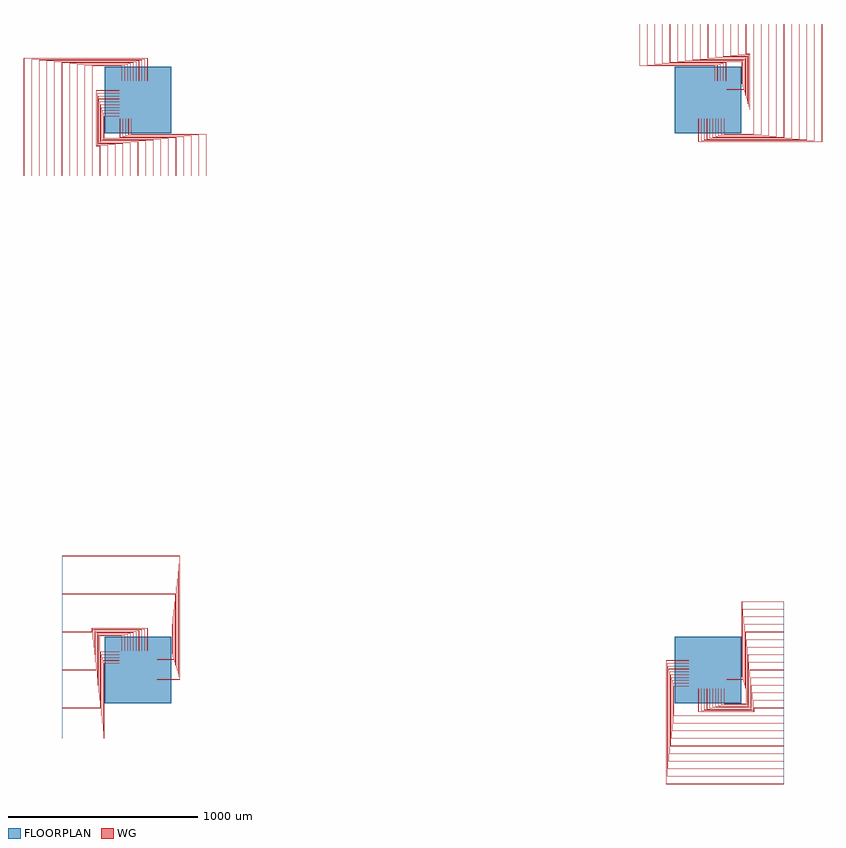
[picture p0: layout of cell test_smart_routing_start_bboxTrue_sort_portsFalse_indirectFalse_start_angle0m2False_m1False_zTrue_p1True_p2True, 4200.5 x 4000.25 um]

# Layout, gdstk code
import gdstk
lib = gdstk.Library(unit=1e-6, precision=1e-09)
def R(c, l, rs):  # rectangles x0, y0, x1, y1
    for r in rs: c.add(gdstk.rectangle(r[:2], r[2:], *l))
def P(c, l, *ps):  # polygons
    for p in ps: c.add(gdstk.Polygon(p, *l))
WG = (1, 0)
FLOORPLAN = (10, 0)

test_smart_routing_start = lib.new_cell('test_smart_routing_start_bboxTrue_sort_portsFalse_indirectFalse_start_angle0m2False_m1False_zTrue_p1True_p2True')
P(test_smart_routing_start, WG, [(2950.05,2780.3),(2950.05,2900),(2950.25,2900),(2950.25,2780.5),(3599.75,2780.5),(3599.75,3400),(3599.95,3400),(3599.95,2780.3)],
  [(2949.75,2780),(2949.75,2900),(2949.95,2900),(2949.95,2780.2),(3600.05,2780.2),(3600.05,3400),(3600.25,3400),(3600.25,2780)],
  [(2965.05,2784.8),(2965.05,2900),(2965.25,2900),(2965.25,2785),(3559.75,2785),(3559.75,3400),(3559.95,3400),(3559.95,2784.8)],
  [(2964.75,2784.5),(2964.75,2900),(2964.95,2900),(2964.95,2784.7),(3560.05,2784.7),(3560.05,3400),(3560.25,3400),(3560.25,2784.5)],
  [(2980.05,2789.3),(2980.05,2900),(2980.25,2900),(2980.25,2789.5),(3519.75,2789.5),(3519.75,3400),(3519.95,3400),(3519.95,2789.3)],
  [(2979.75,2789),(2979.75,2900),(2979.95,2900),(2979.95,2789.2),(3520.05,2789.2),(3520.05,3400),(3520.25,3400),(3520.25,2789)],
  [(2995.05,2793.8),(2995.05,2900),(2995.25,2900),(2995.25,2794),(3479.75,2794),(3479.75,3400),(3479.95,3400),(3479.95,2793.8)],
  [(2994.75,2793.5),(2994.75,2900),(2994.95,2900),(2994.95,2793.7),(3480.05,2793.7),(3480.05,3400),(3480.25,3400),(3480.25,2793.5)],
  [(3010.05,2798.3),(3010.05,2900),(3010.25,2900),(3010.25,2798.5),(3439.75,2798.5),(3439.75,3400),(3439.95,3400),(3439.95,2798.3)],
  [(3009.75,2798),(3009.75,2900),(3009.95,2900),(3009.95,2798.2),(3440.05,2798.2),(3440.05,3400),(3440.25,3400),(3440.25,2798)],
  [(3025.05,2802.8),(3025.05,2900),(3025.25,2900),(3025.25,2803),(3399.75,2803),(3399.75,3400),(3399.95,3400),(3399.95,2802.8)],
  [(3024.75,2802.5),(3024.75,2900),(3024.95,2900),(3024.95,2802.7),(3400.05,2802.7),(3400.05,3400),(3400.25,3400),(3400.25,2802.5)],
  [(3040.05,2807.3),(3040.05,2900),(3040.25,2900),(3040.25,2807.5),(3359.75,2807.5),(3359.75,3400),(3359.95,3400),(3359.95,2807.3)],
  [(3039.75,2807),(3039.75,2900),(3039.95,2900),(3039.95,2807.2),(3360.05,2807.2),(3360.05,3400),(3360.25,3400),(3360.25,2807)],
  [(3055.05,2811.8),(3055.05,2900),(3055.25,2900),(3055.25,2812),(3319.75,2812),(3319.75,3400),(3319.95,3400),(3319.95,2811.8)],
  [(3054.75,2811.5),(3054.75,2900),(3054.95,2900),(3054.95,2811.7),(3320.05,2811.7),(3320.05,3400),(3320.25,3400),(3320.25,2811.5)],
  [(3070.05,2816.3),(3070.05,2900),(3070.25,2900),(3070.25,2816.5),(3279.75,2816.5),(3279.75,3400),(3279.95,3400),(3279.95,2816.3)],
  [(3069.75,2816),(3069.75,2900),(3069.95,2900),(3069.95,2816.2),(3280.05,2816.2),(3280.05,3400),(3280.25,3400),(3280.25,2816)],
  [(3085.05,2820.8),(3085.05,2900),(3085.25,2900),(3085.25,2821),(3239.75,2821),(3239.75,3400),(3239.95,3400),(3239.95,2820.8)],
  [(3084.75,2820.5),(3084.75,2900),(3084.95,2900),(3084.95,2820.7),(3240.05,2820.7),(3240.05,3400),(3240.25,3400),(3240.25,2820.5)],
  [(3100,2950.05),(3100,2950.25),(3219.5,2950.25),(3219.5,3242),(3199.75,3242),(3199.75,3400),(3199.95,3400),(3199.95,3242.2),(3219.7,3242.2),(3219.7,2950.05)],
  [(3100,2949.75),(3100,2949.95),(3219.8,2949.95),(3219.8,3242.3),(3200.05,3242.3),(3200.05,3400),(3200.25,3400),(3200.25,3242.5),(3220,3242.5),(3220,2949.75)],
  [(3100,2965.05),(3100,2965.25),(3215,2965.25),(3215,3237.5),(3159.75,3237.5),(3159.75,3400),(3159.95,3400),(3159.95,3237.7),(3215.2,3237.7),(3215.2,2965.05)],
  [(3100,2964.75),(3100,2964.95),(3215.3,2964.95),(3215.3,3237.8),(3160.05,3237.8),(3160.05,3400),(3160.25,3400),(3160.25,3238),(3215.5,3238),(3215.5,2964.75)],
  [(3100,2980.05),(3100,2980.25),(3210.5,2980.25),(3210.5,3233),(3119.75,3233),(3119.75,3400),(3119.95,3400),(3119.95,3233.2),(3210.7,3233.2),(3210.7,2980.05)],
  [(3100,2979.75),(3100,2979.95),(3210.8,2979.95),(3210.8,3233.3),(3120.05,3233.3),(3120.05,3400),(3120.25,3400),(3120.25,3233.5),(3211,3233.5),(3211,2979.75)],
  [(3100,2995.05),(3100,2995.25),(3206,2995.25),(3206,3228.5),(3079.75,3228.5),(3079.75,3400),(3079.95,3400),(3079.95,3228.7),(3206.2,3228.7),(3206.2,2995.05)],
  [(3100,2994.75),(3100,2994.95),(3206.3,2994.95),(3206.3,3228.8),(3080.05,3228.8),(3080.05,3400),(3080.25,3400),(3080.25,3229),(3206.5,3229),(3206.5,2994.75)],
  [(3100,3010.05),(3100,3010.25),(3201.5,3010.25),(3201.5,3224),(3039.75,3224),(3039.75,3400),(3039.95,3400),(3039.95,3224.2),(3201.7,3224.2),(3201.7,3010.05)],
  [(3100,3009.75),(3100,3009.95),(3201.8,3009.95),(3201.8,3224.3),(3040.05,3224.3),(3040.05,3400),(3040.25,3400),(3040.25,3224.5),(3202,3224.5),(3202,3009.75)],
  [(3100,3025.05),(3100,3025.25),(3197,3025.25),(3197,3219.5),(2999.75,3219.5),(2999.75,3400),(2999.95,3400),(2999.95,3219.7),(3197.2,3219.7),(3197.2,3025.05)],
  [(3100,3024.75),(3100,3024.95),(3197.3,3024.95),(3197.3,3219.8),(3000.05,3219.8),(3000.05,3400),(3000.25,3400),(3000.25,3220),(3197.5,3220),(3197.5,3024.75)],
  [(3100,3040.05),(3100,3040.25),(3192.5,3040.25),(3192.5,3215),(2959.75,3215),(2959.75,3400),(2959.95,3400),(2959.95,3215.2),(3192.7,3215.2),(3192.7,3040.05)],
  [(3100,3039.75),(3100,3039.95),(3192.8,3039.95),(3192.8,3215.3),(2960.05,3215.3),(2960.05,3400),(2960.25,3400),(2960.25,3215.5),(3193,3215.5),(3193,3039.75)],
  [(3100,3055.05),(3100,3055.25),(3188,3055.25),(3188,3210.5),(2919.75,3210.5),(2919.75,3400),(2919.95,3400),(2919.95,3210.7),(3188.2,3210.7),(3188.2,3055.05)],
  [(3100,3054.75),(3100,3054.95),(3188.3,3054.95),(3188.3,3210.8),(2920.05,3210.8),(2920.05,3400),(2920.25,3400),(2920.25,3211),(3188.5,3211),(3188.5,3054.75)],
  [(3100,3070.05),(3100,3070.25),(3183.5,3070.25),(3183.5,3206),(2879.75,3206),(2879.75,3400),(2879.95,3400),(2879.95,3206.2),(3183.7,3206.2),(3183.7,3070.05)],
  [(3100,3069.75),(3100,3069.95),(3183.8,3069.95),(3183.8,3206.3),(2880.05,3206.3),(2880.05,3400),(2880.25,3400),(2880.25,3206.5),(3184,3206.5),(3184,3069.75)],
  [(3100,3085.05),(3100,3085.25),(3179,3085.25),(3179,3201.5),(2839.75,3201.5),(2839.75,3400),(2839.95,3400),(2839.95,3201.7),(3179.2,3201.7),(3179.2,3085.05)],
  [(3100,3084.75),(3100,3084.95),(3179.3,3084.95),(3179.3,3201.8),(2840.05,3201.8),(2840.05,3400),(2840.25,3400),(2840.25,3202),(3179.5,3202),(3179.5,3084.75)],
  [(3034.75,3100),(3034.75,3179),(2639.75,3179),(2639.75,3400),(2639.95,3400),(2639.95,3179.2),(3034.95,3179.2),(3034.95,3100)],
  [(3035.05,3100),(3035.05,3179.3),(2640.05,3179.3),(2640.05,3400),(2640.25,3400),(2640.25,3179.5),(3035.25,3179.5),(3035.25,3100)],
  [(3049.75,3100),(3049.75,3183.5),(2679.75,3183.5),(2679.75,3400),(2679.95,3400),(2679.95,3183.7),(3049.95,3183.7),(3049.95,3100)],
  [(3050.05,3100),(3050.05,3183.8),(2680.05,3183.8),(2680.05,3400),(2680.25,3400),(2680.25,3184),(3050.25,3184),(3050.25,3100)],
  [(3064.75,3100),(3064.75,3188),(2719.75,3188),(2719.75,3400),(2719.95,3400),(2719.95,3188.2),(3064.95,3188.2),(3064.95,3100)],
  [(3065.05,3100),(3065.05,3188.3),(2720.05,3188.3),(2720.05,3400),(2720.25,3400),(2720.25,3188.5),(3065.25,3188.5),(3065.25,3100)],
  [(3079.75,3100),(3079.75,3192.5),(2759.75,3192.5),(2759.75,3400),(2759.95,3400),(2759.95,3192.7),(3079.95,3192.7),(3079.95,3100)],
  [(3080.05,3100),(3080.05,3192.8),(2760.05,3192.8),(2760.05,3400),(2760.25,3400),(2760.25,3193),(3080.25,3193),(3080.25,3100)],
  [(3094.75,3100),(3094.75,3197),(2799.75,3197),(2799.75,3400),(2799.95,3400),(2799.95,3197.2),(3094.95,3197.2),(3094.95,3100)],
  [(3095.05,3100),(3095.05,3197.3),(2800.05,3197.3),(2800.05,3400),(2800.25,3400),(2800.25,3197.5),(3095.25,3197.5),(3095.25,3100)],
  [(-599.95,2600),(-599.95,3219.7),(49.95,3219.7),(49.95,3100),(49.75,3100),(49.75,3219.5),(-599.75,3219.5),(-599.75,2600)],
  [(-600.25,2600),(-600.25,3220),(50.25,3220),(50.25,3100),(50.05,3100),(50.05,3219.8),(-600.05,3219.8),(-600.05,2600)],
  [(-559.95,2600),(-559.95,3215.2),(34.95,3215.2),(34.95,3100),(34.75,3100),(34.75,3215),(-559.75,3215),(-559.75,2600)],
  [(-560.25,2600),(-560.25,3215.5),(35.25,3215.5),(35.25,3100),(35.05,3100),(35.05,3215.3),(-560.05,3215.3),(-560.05,2600)],
  [(-519.95,2600),(-519.95,3210.7),(19.95,3210.7),(19.95,3100),(19.75,3100),(19.75,3210.5),(-519.75,3210.5),(-519.75,2600)],
  [(-520.25,2600),(-520.25,3211),(20.25,3211),(20.25,3100),(20.05,3100),(20.05,3210.8),(-520.05,3210.8),(-520.05,2600)],
  [(-479.95,2600),(-479.95,3206.2),(4.95,3206.2),(4.95,3100),(4.75,3100),(4.75,3206),(-479.75,3206),(-479.75,2600)],
  [(-480.25,2600),(-480.25,3206.5),(5.25,3206.5),(5.25,3100),(5.05,3100),(5.05,3206.3),(-480.05,3206.3),(-480.05,2600)],
  [(-439.95,2600),(-439.95,3201.7),(-10.05,3201.7),(-10.05,3100),(-10.25,3100),(-10.25,3201.5),(-439.75,3201.5),(-439.75,2600)],
  [(-440.25,2600),(-440.25,3202),(-9.75,3202),(-9.75,3100),(-9.95,3100),(-9.95,3201.8),(-440.05,3201.8),(-440.05,2600)],
  [(-399.95,2600),(-399.95,3197.2),(-25.05,3197.2),(-25.05,3100),(-25.25,3100),(-25.25,3197),(-399.75,3197),(-399.75,2600)],
  [(-400.25,2600),(-400.25,3197.5),(-24.75,3197.5),(-24.75,3100),(-24.95,3100),(-24.95,3197.3),(-400.05,3197.3),(-400.05,2600)],
  [(-359.95,2600),(-359.95,3192.7),(-40.05,3192.7),(-40.05,3100),(-40.25,3100),(-40.25,3192.5),(-359.75,3192.5),(-359.75,2600)],
  [(-360.25,2600),(-360.25,3193),(-39.75,3193),(-39.75,3100),(-39.95,3100),(-39.95,3192.8),(-360.05,3192.8),(-360.05,2600)],
  [(-319.95,2600),(-319.95,3188.2),(-55.05,3188.2),(-55.05,3100),(-55.25,3100),(-55.25,3188),(-319.75,3188),(-319.75,2600)],
  [(-320.25,2600),(-320.25,3188.5),(-54.75,3188.5),(-54.75,3100),(-54.95,3100),(-54.95,3188.3),(-320.05,3188.3),(-320.05,2600)],
  [(-279.95,2600),(-279.95,3183.7),(-70.05,3183.7),(-70.05,3100),(-70.25,3100),(-70.25,3183.5),(-279.75,3183.5),(-279.75,2600)],
  [(-280.25,2600),(-280.25,3184),(-69.75,3184),(-69.75,3100),(-69.95,3100),(-69.95,3183.8),(-280.05,3183.8),(-280.05,2600)],
  [(-239.95,2600),(-239.95,3179.2),(-85.05,3179.2),(-85.05,3100),(-85.25,3100),(-85.25,3179),(-239.75,3179),(-239.75,2600)],
  [(-240.25,2600),(-240.25,3179.5),(-84.75,3179.5),(-84.75,3100),(-84.95,3100),(-84.95,3179.3),(-240.05,3179.3),(-240.05,2600)],
  [(-199.95,2600),(-199.95,2757.8),(-219.7,2757.8),(-219.7,3049.95),(-100,3049.95),(-100,3049.75),(-219.5,3049.75),(-219.5,2758),(-199.75,2758),(-199.75,2600)],
  [(-200.25,2600),(-200.25,2757.5),(-220,2757.5),(-220,3050.25),(-100,3050.25),(-100,3050.05),(-219.8,3050.05),(-219.8,2757.7),(-200.05,2757.7),(-200.05,2600)],
  [(-159.95,2600),(-159.95,2762.3),(-215.2,2762.3),(-215.2,3034.95),(-100,3034.95),(-100,3034.75),(-215,3034.75),(-215,2762.5),(-159.75,2762.5),(-159.75,2600)],
  [(-160.25,2600),(-160.25,2762),(-215.5,2762),(-215.5,3035.25),(-100,3035.25),(-100,3035.05),(-215.3,3035.05),(-215.3,2762.2),(-160.05,2762.2),(-160.05,2600)],
  [(-119.95,2600),(-119.95,2766.8),(-210.7,2766.8),(-210.7,3019.95),(-100,3019.95),(-100,3019.75),(-210.5,3019.75),(-210.5,2767),(-119.75,2767),(-119.75,2600)],
  [(-120.25,2600),(-120.25,2766.5),(-211,2766.5),(-211,3020.25),(-100,3020.25),(-100,3020.05),(-210.8,3020.05),(-210.8,2766.7),(-120.05,2766.7),(-120.05,2600)],
  [(-79.95,2600),(-79.95,2771.3),(-206.2,2771.3),(-206.2,3004.95),(-100,3004.95),(-100,3004.75),(-206,3004.75),(-206,2771.5),(-79.75,2771.5),(-79.75,2600)],
  [(-80.25,2600),(-80.25,2771),(-206.5,2771),(-206.5,3005.25),(-100,3005.25),(-100,3005.05),(-206.3,3005.05),(-206.3,2771.2),(-80.05,2771.2),(-80.05,2600)],
  [(-39.95,2600),(-39.95,2775.8),(-201.7,2775.8),(-201.7,2989.95),(-100,2989.95),(-100,2989.75),(-201.5,2989.75),(-201.5,2776),(-39.75,2776),(-39.75,2600)],
  [(-40.25,2600),(-40.25,2775.5),(-202,2775.5),(-202,2990.25),(-100,2990.25),(-100,2990.05),(-201.8,2990.05),(-201.8,2775.7),(-40.05,2775.7),(-40.05,2600)],
  [(0.05,2600),(0.05,2780.3),(-197.2,2780.3),(-197.2,2974.95),(-100,2974.95),(-100,2974.75),(-197,2974.75),(-197,2780.5),(0.25,2780.5),(0.25,2600)],
  [(-0.25,2600),(-0.25,2780),(-197.5,2780),(-197.5,2975.25),(-100,2975.25),(-100,2975.05),(-197.3,2975.05),(-197.3,2780.2),(-0.05,2780.2),(-0.05,2600)],
  [(40.05,2600),(40.05,2784.8),(-192.7,2784.8),(-192.7,2959.95),(-100,2959.95),(-100,2959.75),(-192.5,2959.75),(-192.5,2785),(40.25,2785),(40.25,2600)],
  [(39.75,2600),(39.75,2784.5),(-193,2784.5),(-193,2960.25),(-100,2960.25),(-100,2960.05),(-192.8,2960.05),(-192.8,2784.7),(39.95,2784.7),(39.95,2600)],
  [(80.05,2600),(80.05,2789.3),(-188.2,2789.3),(-188.2,2944.95),(-100,2944.95),(-100,2944.75),(-188,2944.75),(-188,2789.5),(80.25,2789.5),(80.25,2600)],
  [(79.75,2600),(79.75,2789),(-188.5,2789),(-188.5,2945.25),(-100,2945.25),(-100,2945.05),(-188.3,2945.05),(-188.3,2789.2),(79.95,2789.2),(79.95,2600)],
  [(120.05,2600),(120.05,2793.8),(-183.7,2793.8),(-183.7,2929.95),(-100,2929.95),(-100,2929.75),(-183.5,2929.75),(-183.5,2794),(120.25,2794),(120.25,2600)],
  [(119.75,2600),(119.75,2793.5),(-184,2793.5),(-184,2930.25),(-100,2930.25),(-100,2930.05),(-183.8,2930.05),(-183.8,2793.7),(119.95,2793.7),(119.95,2600)],
  [(160.05,2600),(160.05,2798.3),(-179.2,2798.3),(-179.2,2914.95),(-100,2914.95),(-100,2914.75),(-179,2914.75),(-179,2798.5),(160.25,2798.5),(160.25,2600)],
  [(159.75,2600),(159.75,2798),(-179.5,2798),(-179.5,2915.25),(-100,2915.25),(-100,2915.05),(-179.3,2915.05),(-179.3,2798.2),(159.95,2798.2),(159.95,2600)],
  [(359.75,2600),(359.75,2820.5),(-35.25,2820.5),(-35.25,2900),(-35.05,2900),(-35.05,2820.7),(359.95,2820.7),(359.95,2600)],
  [(360.05,2600),(360.05,2820.8),(-34.95,2820.8),(-34.95,2900),(-34.75,2900),(-34.75,2821),(360.25,2821),(360.25,2600)],
  [(319.75,2600),(319.75,2816),(-50.25,2816),(-50.25,2900),(-50.05,2900),(-50.05,2816.2),(319.95,2816.2),(319.95,2600)],
  [(320.05,2600),(320.05,2816.3),(-49.95,2816.3),(-49.95,2900),(-49.75,2900),(-49.75,2816.5),(320.25,2816.5),(320.25,2600)],
  [(279.75,2600),(279.75,2811.5),(-65.25,2811.5),(-65.25,2900),(-65.05,2900),(-65.05,2811.7),(279.95,2811.7),(279.95,2600)],
  [(280.05,2600),(280.05,2811.8),(-64.95,2811.8),(-64.95,2900),(-64.75,2900),(-64.75,2812),(280.25,2812),(280.25,2600)],
  [(239.75,2600),(239.75,2807),(-80.25,2807),(-80.25,2900),(-80.05,2900),(-80.05,2807.2),(239.95,2807.2),(239.95,2600)],
  [(240.05,2600),(240.05,2807.3),(-79.95,2807.3),(-79.95,2900),(-79.75,2900),(-79.75,2807.5),(240.25,2807.5),(240.25,2600)],
  [(199.75,2600),(199.75,2802.5),(-95.25,2802.5),(-95.25,2900),(-95.05,2900),(-95.05,2802.7),(199.95,2802.7),(199.95,2600)],
  [(200.05,2600),(200.05,2802.8),(-94.95,2802.8),(-94.95,2900),(-94.75,2900),(-94.75,2803),(200.25,2803),(200.25,2600)],
  [(100,-49.95),(100,-49.75),(219.5,-49.75),(219.5,599.75),(-400,599.75),(-400,599.95),(219.7,599.95),(219.7,-49.95)],
  [(100,-50.25),(100,-50.05),(219.8,-50.05),(219.8,600.05),(-400,600.05),(-400,600.25),(220,600.25),(220,-50.25)],
  [(100,-34.95),(100,-34.75),(215,-34.75),(215,559.75),(-400,559.75),(-400,559.95),(215.2,559.95),(215.2,-34.95)],
  [(100,-35.25),(100,-35.05),(215.3,-35.05),(215.3,560.05),(-400,560.05),(-400,560.25),(215.5,560.25),(215.5,-35.25)],
  [(100,-19.95),(100,-19.75),(210.5,-19.75),(210.5,519.75),(-400,519.75),(-400,519.95),(210.7,519.95),(210.7,-19.95)],
  [(100,-20.25),(100,-20.05),(210.8,-20.05),(210.8,520.05),(-400,520.05),(-400,520.25),(211,520.25),(211,-20.25)],
  [(100,-4.95),(100,-4.75),(206,-4.75),(206,479.75),(-400,479.75),(-400,479.95),(206.2,479.95),(206.2,-4.95)],
  [(100,-5.25),(100,-5.05),(206.3,-5.05),(206.3,480.05),(-400,480.05),(-400,480.25),(206.5,480.25),(206.5,-5.25)],
  [(100,10.05),(100,10.25),(201.5,10.25),(201.5,439.75),(-400,439.75),(-400,439.95),(201.7,439.95),(201.7,10.05)],
  [(100,9.75),(100,9.95),(201.8,9.95),(201.8,440.05),(-400,440.05),(-400,440.25),(202,440.25),(202,9.75)],
  [(100,25.05),(100,25.25),(197,25.25),(197,399.75),(-400,399.75),(-400,399.95),(197.2,399.95),(197.2,25.05)],
  [(100,24.75),(100,24.95),(197.3,24.95),(197.3,400.05),(-400,400.05),(-400,400.25),(197.5,400.25),(197.5,24.75)],
  [(100,40.05),(100,40.25),(192.5,40.25),(192.5,359.75),(-400,359.75),(-400,359.95),(192.7,359.95),(192.7,40.05)],
  [(100,39.75),(100,39.95),(192.8,39.95),(192.8,360.05),(-400,360.05),(-400,360.25),(193,360.25),(193,39.75)],
  [(100,55.05),(100,55.25),(188,55.25),(188,319.75),(-400,319.75),(-400,319.95),(188.2,319.95),(188.2,55.05)],
  [(100,54.75),(100,54.95),(188.3,54.95),(188.3,320.05),(-400,320.05),(-400,320.25),(188.5,320.25),(188.5,54.75)],
  [(100,70.05),(100,70.25),(183.5,70.25),(183.5,279.75),(-400,279.75),(-400,279.95),(183.7,279.95),(183.7,70.05)],
  [(100,69.75),(100,69.95),(183.8,69.95),(183.8,280.05),(-400,280.05),(-400,280.25),(184,280.25),(184,69.75)],
  [(100,85.05),(100,85.25),(179,85.25),(179,239.75),(-400,239.75),(-400,239.95),(179.2,239.95),(179.2,85.05)],
  [(100,84.75),(100,84.95),(179.3,84.95),(179.3,240.05),(-400,240.05),(-400,240.25),(179.5,240.25),(179.5,84.75)],
  [(49.75,100),(49.75,219.5),(-242,219.5),(-242,199.75),(-400,199.75),(-400,199.95),(-242.2,199.95),(-242.2,219.7),(49.95,219.7),(49.95,100)],
  [(50.05,100),(50.05,219.8),(-242.3,219.8),(-242.3,200.05),(-400,200.05),(-400,200.25),(-242.5,200.25),(-242.5,220),(50.25,220),(50.25,100)],
  [(34.75,100),(34.75,215),(-237.5,215),(-237.5,159.75),(-400,159.75),(-400,159.95),(-237.7,159.95),(-237.7,215.2),(34.95,215.2),(34.95,100)],
  [(35.05,100),(35.05,215.3),(-237.8,215.3),(-237.8,160.05),(-400,160.05),(-400,160.25),(-238,160.25),(-238,215.5),(35.25,215.5),(35.25,100)],
  [(19.75,100),(19.75,210.5),(-233,210.5),(-233,119.75),(-400,119.75),(-400,119.95),(-233.2,119.95),(-233.2,210.7),(19.95,210.7),(19.95,100)],
  [(20.05,100),(20.05,210.8),(-233.3,210.8),(-233.3,120.05),(-400,120.05),(-400,120.25),(-233.5,120.25),(-233.5,211),(20.25,211),(20.25,100)],
  [(-400,79.75),(-400,79.95),(-228.7,79.95),(-228.7,206.2),(4.95,206.2),(4.95,100),(4.75,100),(4.75,206),(-228.5,206),(-228.5,79.75)],
  [(-400,80.05),(-400,80.25),(-229,80.25),(-229,206.5),(5.25,206.5),(5.25,100),(5.05,100),(5.05,206.3),(-228.8,206.3),(-228.8,80.05)],
  [(-400,39.75),(-400,39.95),(-224.2,39.95),(-224.2,201.7),(-10.05,201.7),(-10.05,100),(-10.25,100),(-10.25,201.5),(-224,201.5),(-224,39.75)],
  [(-400,40.05),(-400,40.25),(-224.5,40.25),(-224.5,202),(-9.75,202),(-9.75,100),(-9.95,100),(-9.95,201.8),(-224.3,201.8),(-224.3,40.05)],
  [(-400,-0.25),(-400,-0.05),(-219.7,-0.05),(-219.7,197.2),(-25.05,197.2),(-25.05,100),(-25.25,100),(-25.25,197),(-219.5,197),(-219.5,-0.25)],
  [(-400,0.05),(-400,0.25),(-220,0.25),(-220,197.5),(-24.75,197.5),(-24.75,100),(-24.95,100),(-24.95,197.3),(-219.8,197.3),(-219.8,0.05)],
  [(-400,-40.25),(-400,-40.05),(-215.2,-40.05),(-215.2,192.7),(-40.05,192.7),(-40.05,100),(-40.25,100),(-40.25,192.5),(-215,192.5),(-215,-40.25)],
  [(-400,-39.95),(-400,-39.75),(-215.5,-39.75),(-215.5,193),(-39.75,193),(-39.75,100),(-39.95,100),(-39.95,192.8),(-215.3,192.8),(-215.3,-39.95)],
  [(-400,-80.25),(-400,-80.05),(-210.7,-80.05),(-210.7,188.2),(-55.05,188.2),(-55.05,100),(-55.25,100),(-55.25,188),(-210.5,188),(-210.5,-80.25)],
  [(-400,-79.95),(-400,-79.75),(-211,-79.75),(-211,188.5),(-54.75,188.5),(-54.75,100),(-54.95,100),(-54.95,188.3),(-210.8,188.3),(-210.8,-79.95)],
  [(-400,-120.25),(-400,-120.05),(-206.2,-120.05),(-206.2,183.7),(-70.05,183.7),(-70.05,100),(-70.25,100),(-70.25,183.5),(-206,183.5),(-206,-120.25)],
  [(-400,-119.95),(-400,-119.75),(-206.5,-119.75),(-206.5,184),(-69.75,184),(-69.75,100),(-69.95,100),(-69.95,183.8),(-206.3,183.8),(-206.3,-119.95)],
  [(-400,-160.25),(-400,-160.05),(-201.7,-160.05),(-201.7,179.2),(-85.05,179.2),(-85.05,100),(-85.25,100),(-85.25,179),(-201.5,179),(-201.5,-160.25)],
  [(-400,-159.95),(-400,-159.75),(-202,-159.75),(-202,179.5),(-84.75,179.5),(-84.75,100),(-84.95,100),(-84.95,179.3),(-201.8,179.3),(-201.8,-159.95)],
  [(-400,-360.25),(-400,-360.05),(-179.2,-360.05),(-179.2,34.95),(-100,34.95),(-100,34.75),(-179,34.75),(-179,-360.25)],
  [(-400,-359.95),(-400,-359.75),(-179.5,-359.75),(-179.5,35.25),(-100,35.25),(-100,35.05),(-179.3,35.05),(-179.3,-359.95)],
  [(-400,-320.25),(-400,-320.05),(-183.7,-320.05),(-183.7,49.95),(-100,49.95),(-100,49.75),(-183.5,49.75),(-183.5,-320.25)],
  [(-400,-319.95),(-400,-319.75),(-184,-319.75),(-184,50.25),(-100,50.25),(-100,50.05),(-183.8,50.05),(-183.8,-319.95)],
  [(-400,-280.25),(-400,-280.05),(-188.2,-280.05),(-188.2,64.95),(-100,64.95),(-100,64.75),(-188,64.75),(-188,-280.25)],
  [(-400,-279.95),(-400,-279.75),(-188.5,-279.75),(-188.5,65.25),(-100,65.25),(-100,65.05),(-188.3,65.05),(-188.3,-279.95)],
  [(-400,-240.25),(-400,-240.05),(-192.7,-240.05),(-192.7,79.95),(-100,79.95),(-100,79.75),(-192.5,79.75),(-192.5,-240.25)],
  [(-400,-239.95),(-400,-239.75),(-193,-239.75),(-193,80.25),(-100,80.25),(-100,80.05),(-192.8,80.05),(-192.8,-239.95)],
  [(-400,-200.25),(-400,-200.05),(-197.2,-200.05),(-197.2,94.95),(-100,94.95),(-100,94.75),(-197,94.75),(-197,-200.25)],
  [(-400,-199.95),(-400,-199.75),(-197.5,-199.75),(-197.5,95.25),(-100,95.25),(-100,95.05),(-197.3,95.05),(-197.3,-199.95)],
  [(2780.3,-599.95),(2780.3,49.95),(2900,49.95),(2900,49.75),(2780.5,49.75),(2780.5,-599.75),(3400,-599.75),(3400,-599.95)],
  [(2780,-600.25),(2780,50.25),(2900,50.25),(2900,50.05),(2780.2,50.05),(2780.2,-600.05),(3400,-600.05),(3400,-600.25)],
  [(2784.8,-559.95),(2784.8,34.95),(2900,34.95),(2900,34.75),(2785,34.75),(2785,-559.75),(3400,-559.75),(3400,-559.95)],
  [(2784.5,-560.25),(2784.5,35.25),(2900,35.25),(2900,35.05),(2784.7,35.05),(2784.7,-560.05),(3400,-560.05),(3400,-560.25)],
  [(2789.3,-519.95),(2789.3,19.95),(2900,19.95),(2900,19.75),(2789.5,19.75),(2789.5,-519.75),(3400,-519.75),(3400,-519.95)],
  [(2789,-520.25),(2789,20.25),(2900,20.25),(2900,20.05),(2789.2,20.05),(2789.2,-520.05),(3400,-520.05),(3400,-520.25)],
  [(2793.8,-479.95),(2793.8,4.95),(2900,4.95),(2900,4.75),(2794,4.75),(2794,-479.75),(3400,-479.75),(3400,-479.95)],
  [(2793.5,-480.25),(2793.5,5.25),(2900,5.25),(2900,5.05),(2793.7,5.05),(2793.7,-480.05),(3400,-480.05),(3400,-480.25)],
  [(2798.3,-439.95),(2798.3,-10.05),(2900,-10.05),(2900,-10.25),(2798.5,-10.25),(2798.5,-439.75),(3400,-439.75),(3400,-439.95)],
  [(2798,-440.25),(2798,-9.75),(2900,-9.75),(2900,-9.95),(2798.2,-9.95),(2798.2,-440.05),(3400,-440.05),(3400,-440.25)],
  [(2802.8,-399.95),(2802.8,-25.05),(2900,-25.05),(2900,-25.25),(2803,-25.25),(2803,-399.75),(3400,-399.75),(3400,-399.95)],
  [(2802.5,-400.25),(2802.5,-24.75),(2900,-24.75),(2900,-24.95),(2802.7,-24.95),(2802.7,-400.05),(3400,-400.05),(3400,-400.25)],
  [(2807.3,-359.95),(2807.3,-40.05),(2900,-40.05),(2900,-40.25),(2807.5,-40.25),(2807.5,-359.75),(3400,-359.75),(3400,-359.95)],
  [(2807,-360.25),(2807,-39.75),(2900,-39.75),(2900,-39.95),(2807.2,-39.95),(2807.2,-360.05),(3400,-360.05),(3400,-360.25)],
  [(2811.8,-319.95),(2811.8,-55.05),(2900,-55.05),(2900,-55.25),(2812,-55.25),(2812,-319.75),(3400,-319.75),(3400,-319.95)],
  [(2811.5,-320.25),(2811.5,-54.75),(2900,-54.75),(2900,-54.95),(2811.7,-54.95),(2811.7,-320.05),(3400,-320.05),(3400,-320.25)],
  [(2816.3,-279.95),(2816.3,-70.05),(2900,-70.05),(2900,-70.25),(2816.5,-70.25),(2816.5,-279.75),(3400,-279.75),(3400,-279.95)],
  [(2816,-280.25),(2816,-69.75),(2900,-69.75),(2900,-69.95),(2816.2,-69.95),(2816.2,-280.05),(3400,-280.05),(3400,-280.25)],
  [(2820.8,-239.95),(2820.8,-85.05),(2900,-85.05),(2900,-85.25),(2821,-85.25),(2821,-239.75),(3400,-239.75),(3400,-239.95)],
  [(2820.5,-240.25),(2820.5,-84.75),(2900,-84.75),(2900,-84.95),(2820.7,-84.95),(2820.7,-240.05),(3400,-240.05),(3400,-240.25)],
  [(2949.75,-220),(2949.75,-100),(2949.95,-100),(2949.95,-219.8),(3242.3,-219.8),(3242.3,-200.05),(3400,-200.05),(3400,-200.25),(3242.5,-200.25),(3242.5,-220)],
  [(2950.05,-219.7),(2950.05,-100),(2950.25,-100),(2950.25,-219.5),(3242,-219.5),(3242,-199.75),(3400,-199.75),(3400,-199.95),(3242.2,-199.95),(3242.2,-219.7)],
  [(2964.75,-215.5),(2964.75,-100),(2964.95,-100),(2964.95,-215.3),(3237.8,-215.3),(3237.8,-160.05),(3400,-160.05),(3400,-160.25),(3238,-160.25),(3238,-215.5)],
  [(2965.05,-215.2),(2965.05,-100),(2965.25,-100),(2965.25,-215),(3237.5,-215),(3237.5,-159.75),(3400,-159.75),(3400,-159.95),(3237.7,-159.95),(3237.7,-215.2)],
  [(2979.75,-211),(2979.75,-100),(2979.95,-100),(2979.95,-210.8),(3233.3,-210.8),(3233.3,-120.05),(3400,-120.05),(3400,-120.25),(3233.5,-120.25),(3233.5,-211)],
  [(2980.05,-210.7),(2980.05,-100),(2980.25,-100),(2980.25,-210.5),(3233,-210.5),(3233,-119.75),(3400,-119.75),(3400,-119.95),(3233.2,-119.95),(3233.2,-210.7)],
  [(2994.75,-206.5),(2994.75,-100),(2994.95,-100),(2994.95,-206.3),(3228.8,-206.3),(3228.8,-80.05),(3400,-80.05),(3400,-80.25),(3229,-80.25),(3229,-206.5)],
  [(2995.05,-206.2),(2995.05,-100),(2995.25,-100),(2995.25,-206),(3228.5,-206),(3228.5,-79.75),(3400,-79.75),(3400,-79.95),(3228.7,-79.95),(3228.7,-206.2)],
  [(3009.75,-202),(3009.75,-100),(3009.95,-100),(3009.95,-201.8),(3224.3,-201.8),(3224.3,-40.05),(3400,-40.05),(3400,-40.25),(3224.5,-40.25),(3224.5,-202)],
  [(3010.05,-201.7),(3010.05,-100),(3010.25,-100),(3010.25,-201.5),(3224,-201.5),(3224,-39.75),(3400,-39.75),(3400,-39.95),(3224.2,-39.95),(3224.2,-201.7)],
  [(3024.75,-197.5),(3024.75,-100),(3024.95,-100),(3024.95,-197.3),(3219.8,-197.3),(3219.8,-0.05),(3400,-0.05),(3400,-0.25),(3220,-0.25),(3220,-197.5)],
  [(3025.05,-197.2),(3025.05,-100),(3025.25,-100),(3025.25,-197),(3219.5,-197),(3219.5,0.25),(3400,0.25),(3400,0.05),(3219.7,0.05),(3219.7,-197.2)],
  [(3039.75,-193),(3039.75,-100),(3039.95,-100),(3039.95,-192.8),(3215.3,-192.8),(3215.3,39.95),(3400,39.95),(3400,39.75),(3215.5,39.75),(3215.5,-193)],
  [(3040.05,-192.7),(3040.05,-100),(3040.25,-100),(3040.25,-192.5),(3215,-192.5),(3215,40.25),(3400,40.25),(3400,40.05),(3215.2,40.05),(3215.2,-192.7)],
  [(3054.75,-188.5),(3054.75,-100),(3054.95,-100),(3054.95,-188.3),(3210.8,-188.3),(3210.8,79.95),(3400,79.95),(3400,79.75),(3211,79.75),(3211,-188.5)],
  [(3055.05,-188.2),(3055.05,-100),(3055.25,-100),(3055.25,-188),(3210.5,-188),(3210.5,80.25),(3400,80.25),(3400,80.05),(3210.7,80.05),(3210.7,-188.2)],
  [(3069.75,-184),(3069.75,-100),(3069.95,-100),(3069.95,-183.8),(3206.3,-183.8),(3206.3,119.95),(3400,119.95),(3400,119.75),(3206.5,119.75),(3206.5,-184)],
  [(3070.05,-183.7),(3070.05,-100),(3070.25,-100),(3070.25,-183.5),(3206,-183.5),(3206,120.25),(3400,120.25),(3400,120.05),(3206.2,120.05),(3206.2,-183.7)],
  [(3084.75,-179.5),(3084.75,-100),(3084.95,-100),(3084.95,-179.3),(3201.8,-179.3),(3201.8,159.95),(3400,159.95),(3400,159.75),(3202,159.75),(3202,-179.5)],
  [(3085.05,-179.2),(3085.05,-100),(3085.25,-100),(3085.25,-179),(3201.5,-179),(3201.5,160.25),(3400,160.25),(3400,160.05),(3201.7,160.05),(3201.7,-179.2)],
  [(3100,-35.25),(3100,-35.05),(3179.3,-35.05),(3179.3,359.95),(3400,359.95),(3400,359.75),(3179.5,359.75),(3179.5,-35.25)],
  [(3100,-34.95),(3100,-34.75),(3179,-34.75),(3179,360.25),(3400,360.25),(3400,360.05),(3179.2,360.05),(3179.2,-34.95)],
  [(3100,-50.25),(3100,-50.05),(3183.8,-50.05),(3183.8,319.95),(3400,319.95),(3400,319.75),(3184,319.75),(3184,-50.25)],
  [(3100,-49.95),(3100,-49.75),(3183.5,-49.75),(3183.5,320.25),(3400,320.25),(3400,320.05),(3183.7,320.05),(3183.7,-49.95)],
  [(3100,-65.25),(3100,-65.05),(3188.3,-65.05),(3188.3,279.95),(3400,279.95),(3400,279.75),(3188.5,279.75),(3188.5,-65.25)],
  [(3100,-64.95),(3100,-64.75),(3188,-64.75),(3188,280.25),(3400,280.25),(3400,280.05),(3188.2,280.05),(3188.2,-64.95)],
  [(3100,-80.25),(3100,-80.05),(3192.8,-80.05),(3192.8,239.95),(3400,239.95),(3400,239.75),(3193,239.75),(3193,-80.25)],
  [(3100,-79.95),(3100,-79.75),(3192.5,-79.75),(3192.5,240.25),(3400,240.25),(3400,240.05),(3192.7,240.05),(3192.7,-79.95)],
  [(3100,-95.25),(3100,-95.05),(3197.3,-95.05),(3197.3,199.95),(3400,199.95),(3400,199.75),(3197.5,199.75),(3197.5,-95.25)],
  [(3100,-94.95),(3100,-94.75),(3197,-94.75),(3197,200.25),(3400,200.25),(3400,200.05),(3197.2,200.05),(3197.2,-94.95)])
R(test_smart_routing_start, FLOORPLAN, [(-175,-175,175,175), (2825,-175,3175,175), (-175,2825,175,3175), (2825,2825,3175,3175)])
P(test_smart_routing_start, FLOORPLAN, [(-400,-360),(-400,600),(-400,600),(-400,-360)],
  [(-600,2600),(-600,2600),(360,2600),(360,2600)],
  [(3400,-600),(3400,360),(3400,360),(3400,-600)],
  [(2640,3400),(2640,3400),(3600,3400),(3600,3400)])

lib.write_gds('test_smart_routing_start_bboxTrue_sort_portsFalse_indirectFalse_start_angle0m2False_m1False_zTrue_p1True_p2True.gds')
